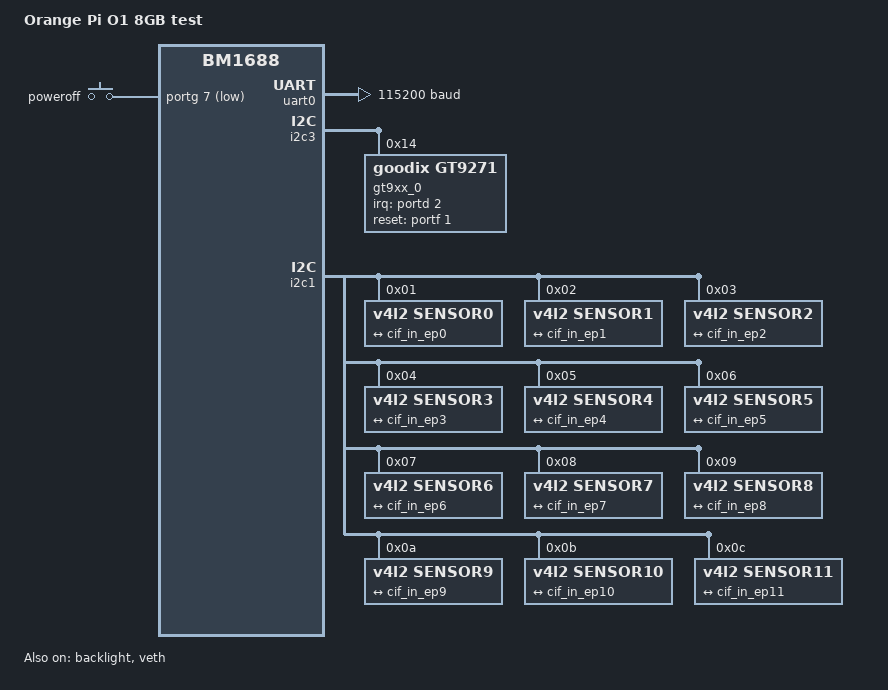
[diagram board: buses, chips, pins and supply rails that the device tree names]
/dts-v1/;
#include "soph_base_arm64.dtsi"
//#include "soph_asic_bga.dtsi"
#include "soph_asic_emmc.dtsi"
#include "soph_default_memmap.dtsi"

/ {
	model = "Orange Pi O1 8GB test";
	aliases {
		serial0 = &uart0;
	};

	chosen {
		stdout-path = "serial0"; // "serial0:115200n8", no arguments means no re-initialization
	};

	gpio-keys {
		compatible = "gpio-keys";

		key-power {
			label = "poweroff";
			linux,code = <KEY_POWER>;

			gpios = <&portg 7 GPIO_ACTIVE_LOW>;
		};
	};
};

&uart0 {
	clock-frequency = <200000000>;
	current-speed = <115200>;
};

&mipi_dsi0 {
	clock-lane = <2>;
	data-lanes = <0 1 3 4>;
	lanes-swap = <0 0 0 0 0>;
	status = "disabled";
};

&backlight {
	pwms = <&pwm1 0 25000 0>;
	status = "okay";
};

&mipi_panel0 {
	compatible = "innolux,afj101-ba2131";
	reset-gpio = <&portf 4 GPIO_ACTIVE_LOW>;
	power-gpio = <&portf 3 GPIO_ACTIVE_HIGH>;

	backlight = <&backlight>;


	status = "disabled";
	//status = "okay";
};

&usbdrd3_0 {
        //vbus-gpio = <&portd 2 GPIO_ACTIVE_HIGH>;
	usbdrd_dwc3_0: usb@39010000 {
		role-switch-default-mode = "host";
	};
};

&i2c3 {
	status = "okay";

	gt9xx_0: touchscreen@14 {
		compatible = "goodix,gt9271";
		reg = <0x14>;
		interrupt-parent = <&portd>;
		interrupts = <2 IRQ_TYPE_LEVEL_LOW>;
		irq-gpios = <&portd 2 IRQ_TYPE_LEVEL_LOW>;
		reset-gpios = <&portf 1 GPIO_ACTIVE_HIGH>;
		touchscreen-inverted-x;
		//touchscreen-inverted-y;
		touchscreen-swapped-x-y;
		touchscreen-size-x = <1280>;
		touchscreen-size-y = <800>;
		status = "okay";
	};
};

&cif_v4l2 {
    ports {
    #address-cells = <1>;
        #size-cells = <0>;
        cif_in: port@0 {
            reg = <0>;
        cif_in_ep0: endpoint@0 {
                remote-endpoint = <&sensor0_out>;
        };
        cif_in_ep1: endpoint@1 {
                remote-endpoint = <&sensor1_out>;
        };
        cif_in_ep2: endpoint@2 {
                remote-endpoint = <&sensor2_out>;
        };
        cif_in_ep3: endpoint@3 {
                remote-endpoint = <&sensor3_out>;
        };
        cif_in_ep4: endpoint@4 {
                remote-endpoint = <&sensor4_out>;
        };
        cif_in_ep5: endpoint@5 {
                remote-endpoint = <&sensor5_out>;
        };
        cif_in_ep6: endpoint@6 {
                remote-endpoint = <&sensor6_out>;
        };
        cif_in_ep7: endpoint@7 {
                remote-endpoint = <&sensor7_out>;
        };
        cif_in_ep8: endpoint@8 {
            	remote-endpoint = <&sensor8_out>;
        };
        cif_in_ep9: endpoint@9 {
                remote-endpoint = <&sensor9_out>;
        };
        cif_in_ep10: endpoint@10 {
                remote-endpoint = <&sensor10_out>;
        };
        cif_in_ep11: endpoint@11 {
                remote-endpoint = <&sensor11_out>;
        };
    };
    };
};

&i2c1 {
    sensor0@1{
            status = "okay";
            compatible = "v4l2,sensor0";
            reg = <0x01>;
            port {
                    sensor0_out: endpoint {
                        remote-endpoint = <&cif_in_ep0>;
                };
            };
       };

    sensor1@2{
            status = "okay";
            compatible = "v4l2,sensor1";
             reg = <0x02>;
            port {
                    sensor1_out: endpoint {
                        remote-endpoint = <&cif_in_ep1>;
                };
            };
       };

    sensor2@3{
               status = "okay";
               compatible = "v4l2,sensor2";
               reg = <0x03>;
               port {
                       sensor2_out: endpoint {
                               remote-endpoint = <&cif_in_ep2>;
                       };
               };
       };

    sensor3@4{
               status = "okay";
               compatible = "v4l2,sensor3";
               reg = <0x04>;
               port {
                       sensor3_out: endpoint {
                               remote-endpoint = <&cif_in_ep3>;
                       };
               };
       };

    sensor4@5{
               status = "okay";
               compatible = "v4l2,sensor4";
               reg = <0x05>;
               port {
                       sensor4_out: endpoint {
                               remote-endpoint = <&cif_in_ep4>;
                       };
               };
       };

    sensor5@6{
            	status = "okay";
               compatible = "v4l2,sensor5";
               reg = <0x06>;
               port {
                       sensor5_out: endpoint {
                               remote-endpoint = <&cif_in_ep5>;
                       };
               };
       };

    sensor6@7{
               status = "okay";
               compatible = "v4l2,sensor6";
               reg = <0x07>;
               port {
                       sensor6_out: endpoint {
                               remote-endpoint = <&cif_in_ep6>;
                       };
               };
       };

    sensor7@8{
               status = "okay";
               compatible = "v4l2,sensor7";
               reg = <0x08>;
               port {
                       sensor7_out: endpoint {
                               remote-endpoint = <&cif_in_ep7>;
                       };
               };
       };

    sensor8@9{
               status = "okay";
               compatible = "v4l2,sensor8";
               reg = <0x09>;
               port {
                       sensor8_out: endpoint {
                               remote-endpoint = <&cif_in_ep8>;
                       };
               };
       };

    sensor9@a{
               status = "okay";
               compatible = "v4l2,sensor9";
               reg = <0x0a>;
               port {
                       sensor9_out: endpoint {
                               remote-endpoint = <&cif_in_ep9>;
                       };
               };
       };

    sensor10@b{
               status = "okay";
               compatible = "v4l2,sensor10";
               reg = <0x0b>;
               port {
                       sensor10_out: endpoint {
                               remote-endpoint = <&cif_in_ep10>;
                       };
               };
       };

    sensor11@c{
               status = "okay";
               compatible = "v4l2,sensor11";
               reg = <0x0c>;
               port {
                       sensor11_out: endpoint {
                               remote-endpoint = <&cif_in_ep11>;
                       };
               };
       };
};



&veth {
	status = "okay";
};
